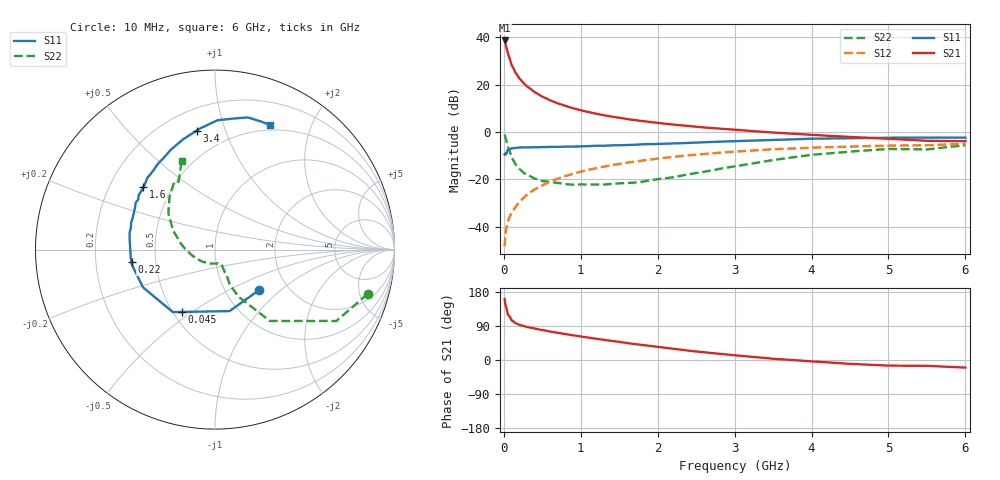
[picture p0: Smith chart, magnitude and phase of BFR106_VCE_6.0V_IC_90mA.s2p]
! Infineon Technologies  Discrete & RF Semiconductors
! BFR106
! VCE =  6.0 V,  IC =  90 mA
! Common Emitter S-Parameters:  Nov 2015
# GHz  S  MA  R  50
!  f  S11  S21  S12  S22
! GHz  MAG  ANG  MAG  ANG  MAG  ANG  MAG  ANG
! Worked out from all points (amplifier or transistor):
!   210 points, 10 MHz to 6 GHz, reference 50 ohm
!   highest |S21| = 38.6 dB at 10 MHz (marker M1)
!   |S21| within 3 dB of that: start of sweep to 33.49 MHz
!   unconditionally stable (mu >= 1): 196.6 MHz to 2.403 GHz
!   at 185 MHz: K = 0.99, MSG = 26.8 dB, |S12| = -30.2 dB
!   at 1.52 GHz: K = 1.06, MAG = 8.2 dB, |S12| = -13.4 dB
!   at 6 GHz: K = 0.99, MSG = 0.6 dB, |S12| = -5.0 dB
!   S11 on the Smith chart (normalised r, x): 10 MHz: 1.43, -0.73; 45 MHz: 0.56, -0.46; 220 MHz: 0.36, -0.07; 1.6 GHz: 0.35, +0.33; 3.4 GHz: 0.33, +0.80; 6 GHz: 0.44, +1.44
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0.01  0.333 -43.0  85.07 160.9  0.0039 78.7  0.8856 -16.2
0.02  0.3521 -76.7  74.17 146.0  0.0069 67.3  0.7844 -30.5
0.045  0.3923 -117.7  49.94 126.6  0.0116 60.5  0.5409 -47.3
0.05  0.4201 -124.0  46.2 120.5  0.0126 59.8  0.5009 -52.5
0.1  0.453 -152.4  26.2 104.8  0.0196 63.6  0.2917 -63.6
0.15  0.4602 -163.9  17.93 97.2  0.0259 67.2  0.2096 -67.1
0.2  0.4698 -169.4  13.64 93.0  0.033 70.8  0.1685 -65.9
0.22  0.4702 -171.4  12.55 91.8  0.0357 71.3  0.1567 -66.1
0.26  0.4716 -174.9  10.58 89.1  0.0413 72.3  0.1362 -66.5
0.3  0.4712 -177.4  9.162 87.1  0.0472 73.2  0.1255 -66.7
0.4  0.4739 177.1  6.929 82.8  0.0612 73.3  0.104 -66.4
0.5  0.479 173.1  5.556 78.8  0.0748 73.3  0.0924 -66.2
0.6  0.4847 168.9  4.657 75.1  0.0894 72.7  0.088 -68.5
0.7  0.4841 165.6  4.017 71.4  0.1034 71.9  0.0844 -71.9
1.02  0.4969 155.2  2.813 61.4  0.148 67.9  0.0784 -83.4
1.6  0.5289 139.0  1.87 44.7  0.2244 59.8  0.0841 -116.1
2.02  0.5589 128.0  1.537 34.1  0.2769 53.6  0.1019 -142.3
3.1  0.6469 104.1  1.08 10.6  0.3936 37.2  0.1999 167.6
3.4  0.6708 98.7  0.997 5.3  0.4216 32.7  0.2411 158.1
4.1  0.7228 87.6  0.851 -4.9  0.472 22.3  0.3396 139.6
5.1  0.7581 74.8  0.705 -14.9  0.5169 9.6  0.4357 120.9
6  0.7589 66.1  0.639 -20.0  0.5628 -0.2  0.525 110.7
